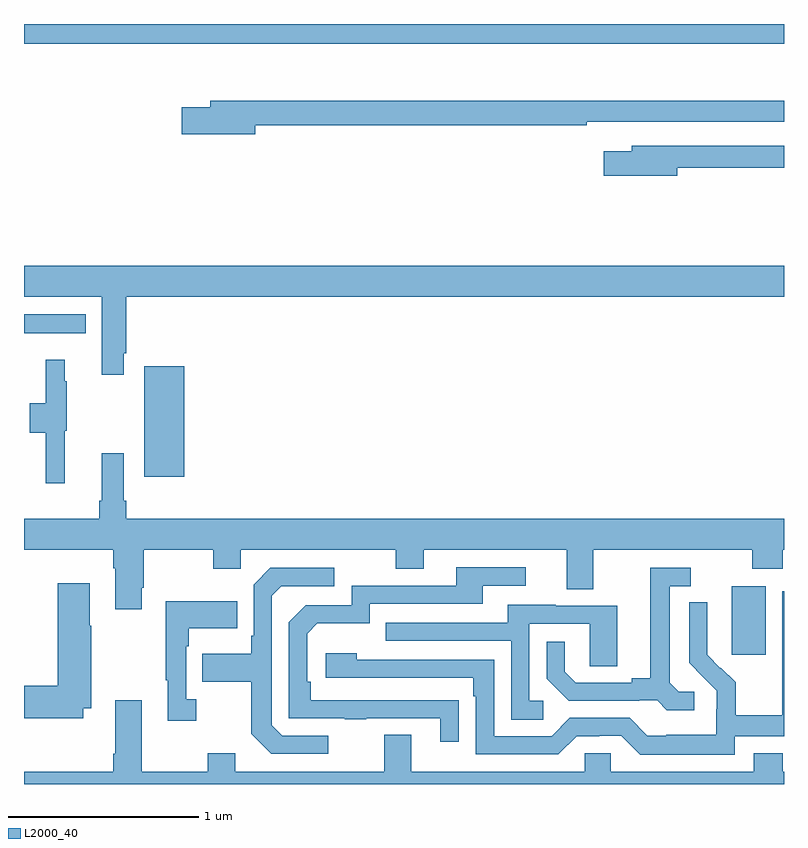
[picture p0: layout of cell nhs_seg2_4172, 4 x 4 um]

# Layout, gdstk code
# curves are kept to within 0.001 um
import gdstk
lib = gdstk.Library(unit=1e-6, precision=1e-09)
def R(c, l, rs):  # rectangles x0, y0, x1, y1
    for r in rs: c.add(gdstk.rectangle(r[:2], r[2:], *l))
def P(c, l, *ps):  # polygons
    for p in ps: c.add(gdstk.Polygon(p, *l))
L2000_40 = (2000, 40)

nhs_seg2_4172 = lib.new_cell('nhs_seg2_4172')
R(nhs_seg2_4172, L2000_40, [(340.724,584.481,340.903,584.842), (337.634,585.416,337.843,586), (337,586.172,337.324,586.273), (337,587.696,341,587.8)])
P(nhs_seg2_4172, L2000_40, [(338.218,587.266),(339.962,587.266),(339.962,587.286),(341,587.286),(341,587.395),(337.979,587.395),(337.979,587.361),(337.83,587.361),(337.83,587.219),(338.218,587.219)],
  [(340.438,587.044),(341,587.044),(341,587.16),(340.199,587.16),(340.199,587.131),(340.05,587.131),(340.05,587.002),(340.438,587.002)],
  [(337.525,586.066),(337.538,586.066),(337.538,586.364),(341,586.364),(341,586.528),(337,586.528),(337,586.364),(337.409,586.364),(337.409,585.954),(337.525,585.954)],
  [(337.214,585.66),(337.225,585.66),(337.225,585.92),(337.214,585.92),(337.214,586.033),(337.115,586.033),(337.115,585.804),(337.031,585.804),(337.031,585.649),(337.115,585.649),(337.115,585.384),(337.214,585.384)],
  [(337.469,584.936),(337.481,584.936),(337.481,584.721),(337.621,584.721),(337.621,584.833),(337.629,584.833),(337.629,585.032),(337.996,585.032),(337.996,584.933),(338.142,584.933),(338.142,585.032),(338.956,585.032),(338.956,584.933),(339.103,584.933),(339.103,585.032),(339.857,585.032),(339.857,584.824),(339.997,584.824),(339.997,585.032),(340.834,585.032),(340.834,584.933),(340.994,584.933),(340.994,585.032),(341,585.032),(341,585.196),(337.538,585.196),(337.538,585.292),(337.525,585.292),(337.525,585.541),(337.409,585.541),(337.409,585.292),(337.397,585.292),(337.397,585.196),(337,585.196),(337,585.032),(337.469,585.032)],
  [(339.287,584.24),(338.51,584.241),(338.51,584.338),(338.49,584.338),(338.49,584.592),(338.543,584.645),(338.82,584.645),(338.82,584.748),(339.415,584.748),(339.415,584.844),(339.64,584.844),(339.64,584.94),(339.275,584.94),(339.275,584.844),(338.724,584.844),(338.724,584.742),(338.484,584.742),(338.394,584.652),(338.394,584.145),(338.689,584.145),(338.689,584.14),(338.801,584.14),(338.801,584.145),(339.191,584.145),(339.191,584.022),(339.287,584.022)],
  [(340.528,584.286),(340.446,584.286),(340.399,584.333),(340.399,584.841),(340.51,584.841),(340.51,584.937),(340.295,584.937),(340.295,584.357),(340.199,584.357),(340.199,584.334),(339.904,584.334),(339.847,584.391),(339.847,584.548),(339.75,584.548),(339.75,584.354),(339.866,584.238),(340.238,584.238),(340.238,584.241),(340.332,584.241),(340.384,584.189),(340.528,584.189)],
  [(338.602,584.055),(338.358,584.055),(338.304,584.109),(338.304,584.79),(338.355,584.841),(338.632,584.841),(338.632,584.937),(338.295,584.937),(338.208,584.85),(338.208,584.581),(338.196,584.581),(338.196,584.485),(337.939,584.485),(337.939,584.338),(338.196,584.338),(338.196,584.065),(338.301,583.959),(338.602,583.959)],
  [(337.312,584.198),(337.353,584.198),(337.353,584.633),(337.345,584.633),(337.345,584.857),(337.178,584.857),(337.178,584.318),(337,584.318),(337,584.147),(337.312,584.147)],
  [(340.74,584.052),(341,584.052),(341,584.814),(340.992,584.814),(340.992,584.384),(340.99,584.384),(340.99,584.161),(340.745,584.161),(340.745,584.335),(340.668,584.412),(340.665,584.409),(340.595,584.48),(340.596,584.756),(340.5,584.756),(340.5,584.438),(340.646,584.29),(340.646,584.193),(340.644,584.193),(340.644,584.059),(340.381,584.059),(340.381,584.055),(340.281,584.055),(340.188,584.148),(339.873,584.148),(339.777,584.052),(339.474,584.052),(339.474,584.454),(338.75,584.454),(338.75,584.488),(338.589,584.488),(338.589,584.358),(339.365,584.358),(339.365,584.261),(339.378,584.261),(339.378,583.956),(339.813,583.956),(339.909,584.052),(340.028,584.052),(340.028,584.055),(340.143,584.055),(340.243,583.955),(340.74,583.955)],
  [(337.906,584.246),(337.854,584.246),(337.854,584.525),(337.867,584.525),(337.867,584.621),(338.123,584.621),(338.123,584.761),(337.746,584.761),(337.746,584.345),(337.757,584.345),(337.757,584.133),(337.906,584.133)],
  [(339.733,584.238),(339.66,584.238),(339.66,584.643),(339.978,584.643),(339.978,584.419),(340.123,584.419),(340.123,584.739),(339.799,584.739),(339.799,584.743),(339.545,584.743),(339.545,584.649),(338.905,584.649),(338.905,584.553),(339.564,584.553),(339.564,584.137),(339.733,584.137)],
  [(341,583.864),(340.994,583.864),(340.994,583.963),(340.841,583.963),(340.841,583.864),(340.089,583.864),(340.089,583.962),(339.951,583.962),(339.951,583.864),(339.037,583.864),(339.037,584.059),(338.897,584.059),(338.897,583.864),(338.113,583.864),(338.113,583.963),(337.966,583.963),(337.966,583.864),(337.621,583.864),(337.621,584.242),(337.481,584.242),(337.481,583.96),(337.469,583.96),(337.469,583.864),(337,583.864),(337,583.8),(341,583.8)])

lib.write_gds('nhs_seg2_4172.gds')
